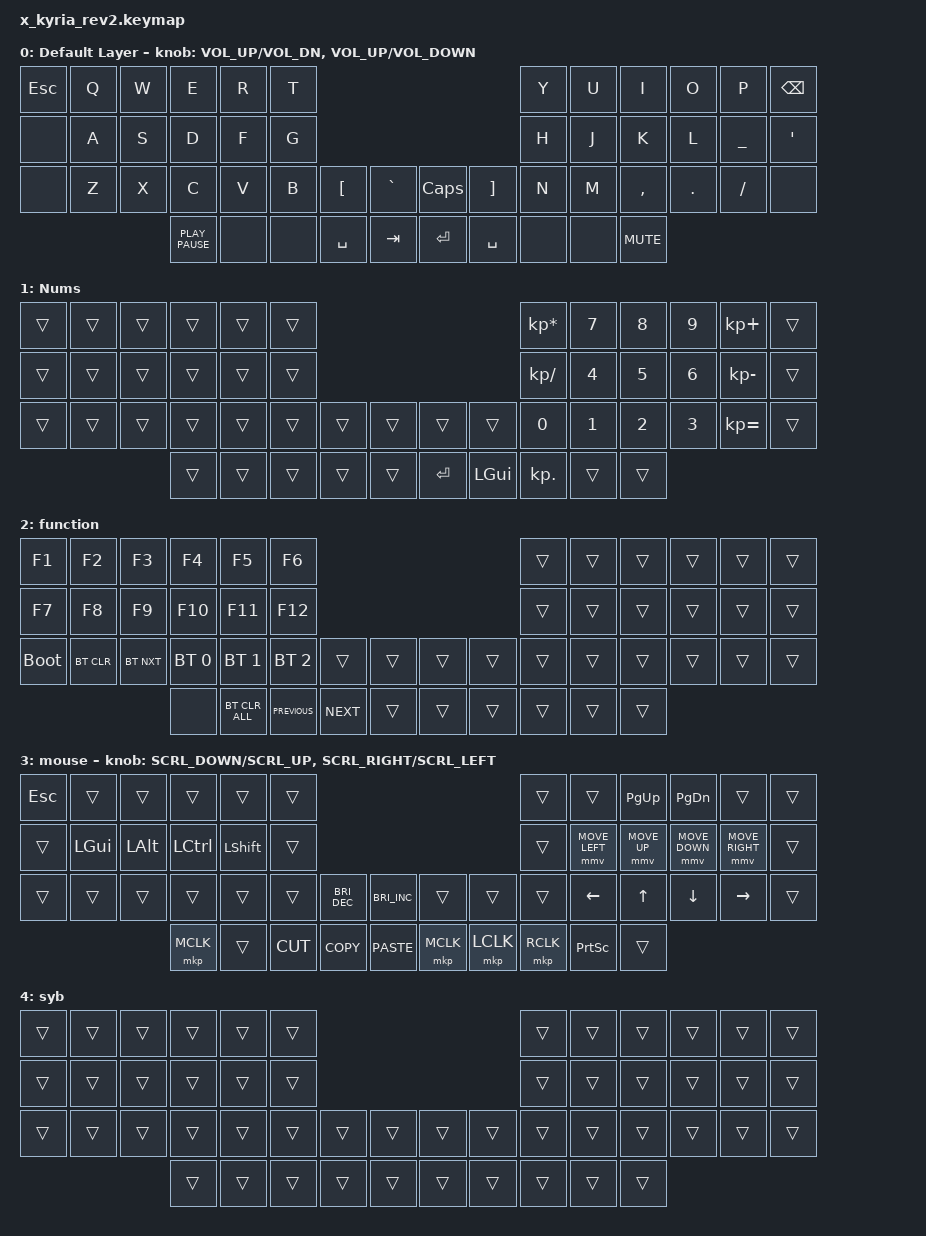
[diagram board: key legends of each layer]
#include <behaviors.dtsi>
#include <dt-bindings/zmk/bt.h>
#include <dt-bindings/zmk/keys.h>
#include "keypos_kyria.h"

/* Uncomment this block if using RGB
&led_strip {
    chain-length = <6>;
    // chain-length = <31>; // Uncomment if using both per-key and underglow LEDs
    // chain-length = <25>; // Uncomment if using only per-key LEDs.
};
 */

&sensors {
    triggers-per-rotation = <30>;
};

#include <behaviors.dtsi>
#include <dt-bindings/zmk/bt.h>
#include <dt-bindings/zmk/keys.h>
#include <dt-bindings/zmk/pointing.h>

#include <behaviors.dtsi>
#include <dt-bindings/zmk/bt.h>
#include <dt-bindings/zmk/keys.h>
#include <dt-bindings/zmk/pointing.h>

/ {
    behaviors {
        scroll_mvt: scroll_mvt {
            compatible = "zmk,behavior-sensor-rotate-var";
            label = "SCROLL_MVT";
            #sensor-binding-cells = <2>;
            bindings = <&msc>, <&msc>;
        };
    };

    keymap {
        compatible = "zmk,keymap";

        default {
            display-name = "Default Layer";

            // ---------------------------------------------------------------------------------------------------------------------------------
            // |  ESC  |  Q  |  W  |  E   |  R   |  T   |                                          |  Y   |  U    |  I    |  O   |   P   |   BSP  |
            // |       |  A  |  S  |  D   |  F   |  G   |                                          |  H   |  J    |  K    |  L   |   ;   |    '   |
            // |       |  Z  |  X  |  C   |  V   |  B   |   "["   |    `    |  |   CAPS  |   "]"   |  N   |  M    |  ,    |  .   |   /   |        |
            //                     | PP   |      |      |  SPACE  |   TAB   |  |   RET   |  SPACE  |      |       | MUTE  |

            bindings = <
&kp ESC  &kp Q  &kp W  &kp E             &kp R  &kp T                                                                &kp Y  &kp U  &kp I       &kp O    &kp P           &kp BACKSPACE
&none    &kp A  &kp S  &kp D             &kp F  &kp G                                                                &kp H  &kp J  &kp K       &kp L    &kp UNDERSCORE  &kp SQT
&none    &kp Z  &kp X  &kp C             &kp V  &kp B  &kp LEFT_BRACKET  &kp GRAVE  &kp CAPSLOCK  &kp RIGHT_BRACKET  &kp N  &kp M  &kp COMMA   &kp DOT  &kp FSLH        &none
                       &kp K_PLAY_PAUSE  &none  &none  &kp SPACE         &kp TAB    &kp RET       &kp SPACE          &none  &none  &kp K_MUTE
            >;

            sensor-bindings =
                <&inc_dec_kp C_VOL_UP C_VOL_DN>,
                <&inc_dec_kp C_VOLUME_UP C_VOLUME_DOWN>;
        };

        Nums {
            bindings = <
&trans  &trans  &trans  &trans  &trans  &trans                                           &kp KP_ASTERISK  &kp N7  &kp N8  &kp N9  &kp KP_PLUS      &trans
&trans  &trans  &trans  &trans  &trans  &trans                                           &kp KP_DIVIDE    &kp N4  &kp N5  &kp N6  &kp KP_SUBTRACT  &trans
&trans  &trans  &trans  &trans  &trans  &trans  &trans  &trans  &trans     &trans        &kp NUMBER_0     &kp N1  &kp N2  &kp N3  &kp KP_EQUAL     &trans
                        &trans  &trans  &trans  &trans  &trans  &kp ENTER  &kp LEFT_GUI  &kp KP_DOT       &trans  &trans
            >;
        };

        function {
            bindings = <
&kp F1       &kp F2      &kp F3      &kp F4        &kp F5          &kp F6                                              &trans  &trans  &trans  &trans  &trans  &trans
&kp F7       &kp F8      &kp F9      &kp F10       &kp F11         &kp F12                                             &trans  &trans  &trans  &trans  &trans  &trans
&bootloader  &bt BT_CLR  &bt BT_NXT  &bt BT_SEL 0  &bt BT_SEL 1    &bt BT_SEL 2    &trans      &trans  &trans  &trans  &trans  &trans  &trans  &trans  &trans  &trans
                                     &none         &bt BT_CLR_ALL  &kp K_PREVIOUS  &kp K_NEXT  &trans  &trans  &trans  &trans  &trans  &trans
            >;
        };

        mouse {
            bindings = <
&kp ESCAPE  &trans        &trans        &trans     &trans          &trans                                                                       &trans     &trans           &kp PAGE_UP   &kp PAGE_DOWN   &trans           &trans
&trans      &kp LEFT_GUI  &kp LEFT_ALT  &kp LCTRL  &kp LEFT_SHIFT  &trans                                                                       &trans     &mmv MOVE_LEFT   &mmv MOVE_UP  &mmv MOVE_DOWN  &mmv MOVE_RIGHT  &trans
&trans      &trans        &trans        &trans     &trans          &trans     &kp C_BRIGHTNESS_DEC  &kp C_BRIGHTNESS_INC  &trans     &trans     &trans     &kp LEFT_ARROW   &kp UP_ARROW  &kp DOWN_ARROW  &kp RIGHT_ARROW  &trans
                                        &mkp MCLK  &trans          &kp K_CUT  &kp K_COPY            &kp K_PASTE           &mkp MCLK  &mkp LCLK  &mkp RCLK  &kp PRINTSCREEN  &trans
            >;

            sensor-bindings =
                <&scroll_mvt SCRL_DOWN SCRL_UP>,
                <&scroll_mvt SCRL_RIGHT SCRL_LEFT>;
        };

        syb {
            bindings = <
&trans  &trans  &trans  &trans  &trans  &trans                                  &trans  &trans  &trans  &trans  &trans  &trans
&trans  &trans  &trans  &trans  &trans  &trans                                  &trans  &trans  &trans  &trans  &trans  &trans
&trans  &trans  &trans  &trans  &trans  &trans  &trans  &trans  &trans  &trans  &trans  &trans  &trans  &trans  &trans  &trans
                        &trans  &trans  &trans  &trans  &trans  &trans  &trans  &trans  &trans  &trans
            >;
        };
    };
};

